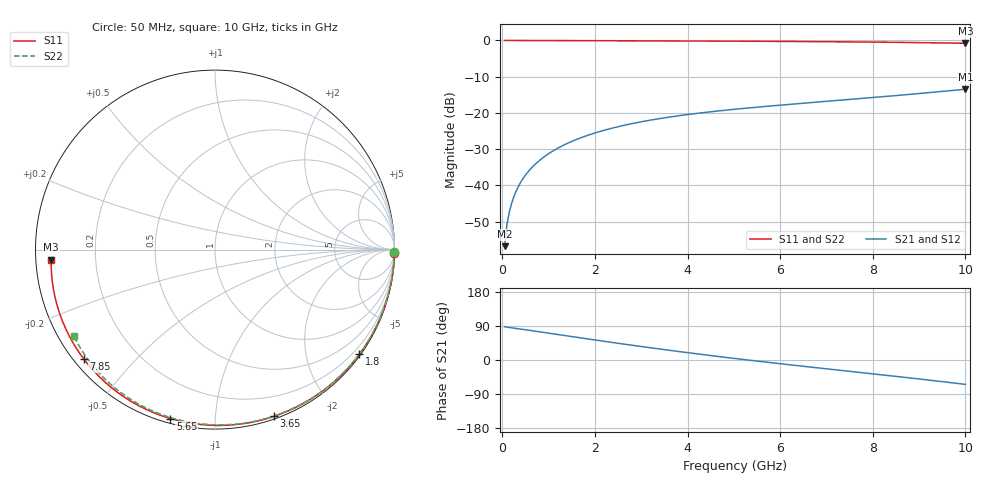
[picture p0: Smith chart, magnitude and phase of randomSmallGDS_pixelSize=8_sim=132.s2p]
! freq	dB(S11)	phase(S11)	dB(S12)	phase(S12)
!  dB(S21)	phase(S21)	dB(S22)	phase(S22)
!S-par simulation data
#  GHz  S  DB  R 50
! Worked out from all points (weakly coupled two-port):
!   200 points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, 50 MHz to 10 GHz, reference 50 ohm
!   highest |S21| = -13.45 dB at 10 GHz (marker M1); lowest = -56.8 dB at 50 MHz (marker M2)
!   lowest |S11| = -0.8 dB at 10 GHz (marker M3), VSWR 22.38, Z = 2.24 - j1.51 ohm
!   |S11| at or under -10 dB: nowhere
!   |S22| runs from -0.7 to 0.0 dB; largest |S21 - S12| = 0
!   S11 on the Smith chart (normalised r, x): 50 MHz: open; 1.8 GHz: 0.03, -3.08; 3.65 GHz: 0.02, -1.41; 5.65 GHz: 0.02, -0.77; 7.85 GHz: 0.03, -0.36; 10 GHz: 0.04, -0.03
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0.05  -0.00 -1.0  -56.76 87.9  -56.76 87.9  -0.00 -0.9
0.1  -0.00 -2.0  -50.87 86.5  -50.87 86.5  -0.00 -1.8
0.15  -0.00 -3.1  -47.44 85.6  -47.44 85.6  -0.00 -2.6
0.2  -0.00 -4.1  -45.00 84.9  -45.00 84.9  -0.00 -3.5
0.35  -0.01 -7.1  -40.22 82.5  -40.22 82.5  -0.00 -6.1
0.5  -0.01 -10.2  -37.16 79.9  -37.16 79.9  -0.01 -8.7
0.7  -0.02 -14.2  -34.28 76.3  -34.28 76.3  -0.02 -12.2
1  -0.03 -20.2  -31.24 70.9  -31.24 70.9  -0.02 -17.4
1.35  -0.04 -27.1  -28.72 64.5  -28.72 64.5  -0.03 -23.3
1.75  -0.05 -35.0  -26.59 57.3  -26.59 57.3  -0.05 -30.1
1.8  -0.06 -35.9  -26.37 56.4  -26.37 56.4  -0.05 -30.9
2.6  -0.08 -51.2  -23.50 42.4  -23.50 42.4  -0.08 -44.2
3.4  -0.12 -66.0  -21.55 29.0  -21.55 29.0  -0.10 -57.0
3.65  -0.13 -70.5  -21.06 24.9  -21.06 24.9  -0.11 -60.9
4.35  -0.16 -82.9  -19.90 14.0  -19.90 14.0  -0.14 -71.6
5.05  -0.20 -94.8  -18.94 3.6  -18.94 3.6  -0.18 -82.0
5.65  -0.23 -104.8  -18.24 -5.0  -18.24 -5.0  -0.21 -90.6
6.7  -0.31 -121.8  -17.12 -19.3  -17.12 -19.3  -0.28 -105.2
7.85  -0.43 -140.3  -15.92 -34.5  -15.92 -34.5  -0.39 -120.5
8.35  -0.49 -148.4  -15.38 -41.2  -15.38 -41.2  -0.44 -127.1
9.2  -0.62 -162.5  -14.42 -52.8  -14.42 -52.8  -0.56 -138.2
10  -0.78 -176.5  -13.45 -64.4  -13.45 -64.4  -0.71 -148.7
